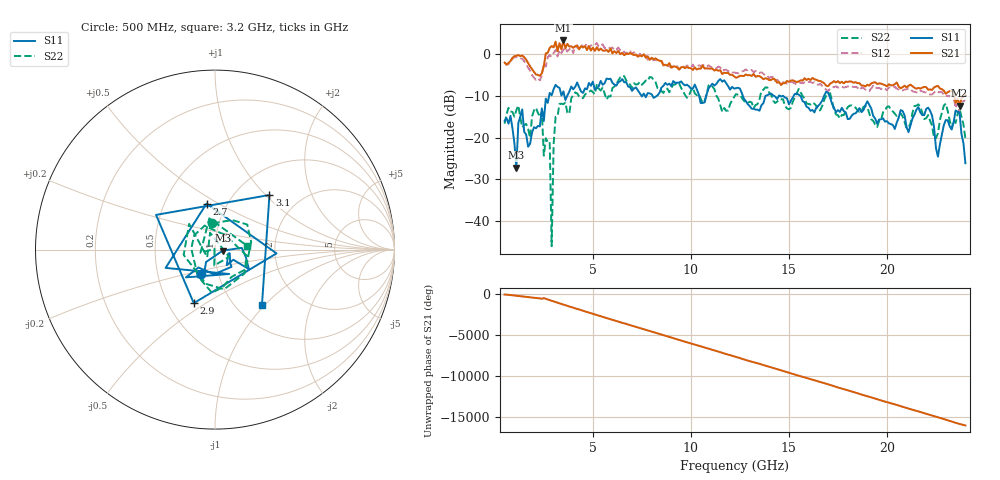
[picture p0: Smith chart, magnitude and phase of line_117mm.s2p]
!Created with skrf (http://scikit-rf.org).
# GHz S RI R 50.0
!freq ReS11 ImS11 ReS21 ImS21 ReS12 ImS12 ReS22 ImS22
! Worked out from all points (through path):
!   236 points, 500 MHz to 24 GHz, reference 50 ohm
!   highest |S21| = 3.31 dB at 3.5 GHz (marker M1); lowest = -12.3 dB at 23.7 GHz (marker M2)
!   lowest |S11| = -27.3 dB at 1.1 GHz (marker M3), VSWR 1.09, Z = 54.5 - j0.607 ohm
!   |S11| at or under -10 dB: start of sweep to 2.77 GHz; 12.65 GHz to 13.81 GHz (1.162 GHz wide, 8.78 % of centre); 17.06 GHz to end of sweep (the widest 3 of 12)
!   |S22| runs from -46.1 to -5.2 dB; largest |S21 - S12| = 2.5
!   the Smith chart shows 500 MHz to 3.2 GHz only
!   S11 on the Smith chart (normalised r, x): 500 MHz: 0.83, -0.23; 2.7 GHz: 0.80, +0.44; 2.9 GHz: 0.67, -0.45; 3.1 GHz: 1.41, +1.05; 3.2 GHz: 1.30, -0.97
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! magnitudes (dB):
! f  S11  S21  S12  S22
! 500 MHz  -16.0  -2.0  -1.9  -16.7
! 800 MHz  -14.8  -1.6  -1.7  -13.7
! 1.1 GHz  -27.3  -0.4  -0.7  -13.4
! 1.4 GHz  -13.3  -0.3  -1.1  -17.6
! 1.7 GHz  -22.2  -2.1  -3.3  -18.0
! 2.1 GHz  -17.8  -4.9  -6.2  -12.9
! 2.7 GHz  -11.7  0.4  -0.8  -21.1
! 2.8 GHz  -9.3  1.5  -0.2  -21.0
! 2.9 GHz  -9.9  2.0  -0.6  -46.1
! 3 GHz  -8.4  1.6  0.3  -21.6
! 3.1 GHz  -7.3  3.0  1.0  -15.0
! 3.2 GHz  -7.8  0.7  -0.5  -14.9
! 3.5 GHz  -8.9  3.3  1.0  -12.0
! 4.5 GHz  -9.3  1.6  1.8  -10.5
! 8.4 GHz  -9.2  -1.6  -1.7  -8.2
! 12.3 GHz  -8.2  -5.6  -4.5  -9.6
! 16.2 GHz  -13.4  -5.7  -6.9  -11.6
! 20.1 GHz  -16.6  -7.2  -8.0  -12.5
! 22.1 GHz  -12.8  -8.5  -9.5  -14.6
! 22.6 GHz  -24.6  -7.6  -9.1  -19.0
! 23.7 GHz  -14.0  -12.3  -13.5  -13.0
! 24 GHz  -26.2  -9.5  -10.8  -20.3
